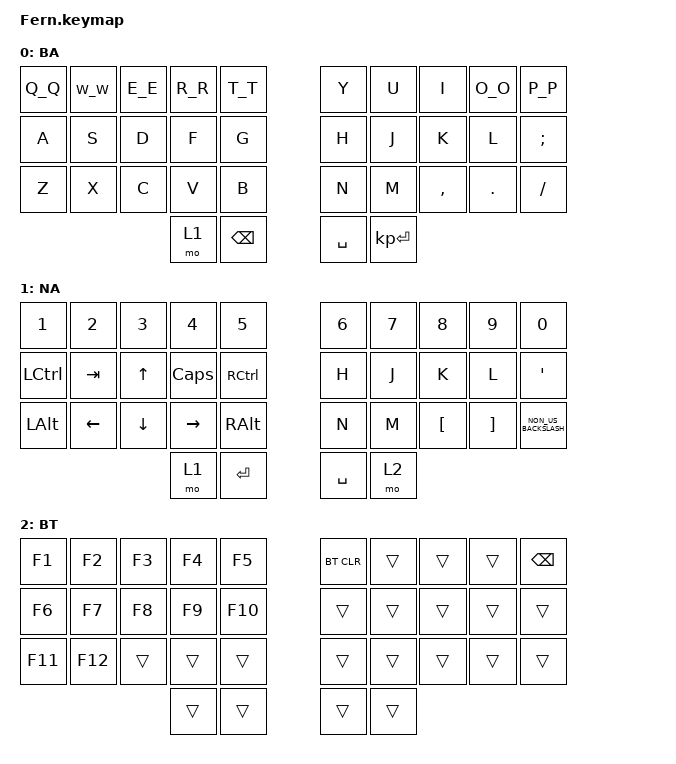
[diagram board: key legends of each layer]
/*
 * Copyright (c) 2022 The ZMK Contributors
 *
 * SPDX-License-Identifier: MIT
 */

#include <behaviors.dtsi>
#include <dt-bindings/zmk/bt.h>
#include <dt-bindings/zmk/keys.h>

#define BA 0
#define NA 1
#define BT 2

/ {
    macros {
        new_macro: new_macro {
            compatible = "zmk,behavior-macro";
            #binding-cells = <0>;
            bindings = <&none>;
            label = "NEW_MACRO";
        };
    };

    behaviors {
        O_O: O_O {
            compatible = "zmk,behavior-tap-dance";
            label = "O_O";
            #binding-cells = <0>;
            bindings = <&kp O>, <&kp LS(O)>;
        };

        P_P: P_P {
            compatible = "zmk,behavior-tap-dance";
            label = "P_P";
            #binding-cells = <0>;
            bindings = <&kp P>, <&kp LS(P)>;
        };

        Q_Q: Q_Q {
            compatible = "zmk,behavior-tap-dance";
            label = "Q_Q";
            #binding-cells = <0>;
            bindings = <&kp Q>, <&kp LS(Q)>;
        };

        W_W: W_W {
            compatible = "zmk,behavior-tap-dance";
            label = "W_W";
            #binding-cells = <0>;
            bindings = <&kp W>, <&kp LS(W)>;
        };

        E_E: E_E {
            compatible = "zmk,behavior-tap-dance";
            label = "E_E";
            #binding-cells = <0>;
            bindings = <&kp E>, <&kp LS(E)>;
        };

        R_R: R_R {
            compatible = "zmk,behavior-tap-dance";
            label = "R_R";
            #binding-cells = <0>;
            bindings = <&kp R>, <&kp LS(R)>;
        };

        T_T: T_T {
            compatible = "zmk,behavior-tap-dance";
            label = "T_T";
            #binding-cells = <0>;
            bindings = <&kp T>, <&kp LS(T)>;
        };
    };

    keymap {
        compatible = "zmk,keymap";

        base_layer {
            label = "BA";
            bindings = <
&Q_Q   &W_W   &E_E   &R_R   &T_T           &kp Y      &kp U         &kp I      &O_O        &P_P
&kp A  &kp S  &kp D  &kp F  &kp G          &kp H      &kp J         &kp K      &kp L       &kp SEMI
&kp Z  &kp X  &kp C  &kp V  &kp B          &kp N      &kp M         &kp COMMA  &kp PERIOD  &kp SLASH
                     &mo 1  &kp BACKSPACE  &kp SPACE  &kp KP_ENTER
            >;
        };

        navi_layer {
            label = "NA";
            bindings = <
&kp N1            &kp N2    &kp N3          &kp N4        &kp N5             &kp N6     &kp N7  &kp N8            &kp N9             &kp N0
&kp LEFT_CONTROL  &kp TAB   &kp UP_ARROW    &kp CAPSLOCK  &kp RIGHT_CONTROL  &kp H      &kp J   &kp K             &kp L              &kp SQT
&kp LEFT_ALT      &kp LEFT  &kp DOWN_ARROW  &kp RIGHT     &kp RIGHT_ALT      &kp N      &kp M   &kp LEFT_BRACKET  &kp RIGHT_BRACKET  &kp NON_US_BACKSLASH
                                            &mo 1         &kp ENTER          &kp SPACE  &mo 2
            >;
        };

        layer_2 {
            label = "BT";
            bindings = <
&kp F1   &kp F2   &kp F3  &kp F4  &kp F5   &bt BT_CLR  &trans  &trans  &trans  &kp BACKSPACE
&kp F6   &kp F7   &kp F8  &kp F9  &kp F10  &trans      &trans  &trans  &trans  &trans
&kp F11  &kp F12  &trans  &trans  &trans   &trans      &trans  &trans  &trans  &trans
                          &trans  &trans   &trans      &trans
            >;
        };
    };
};
